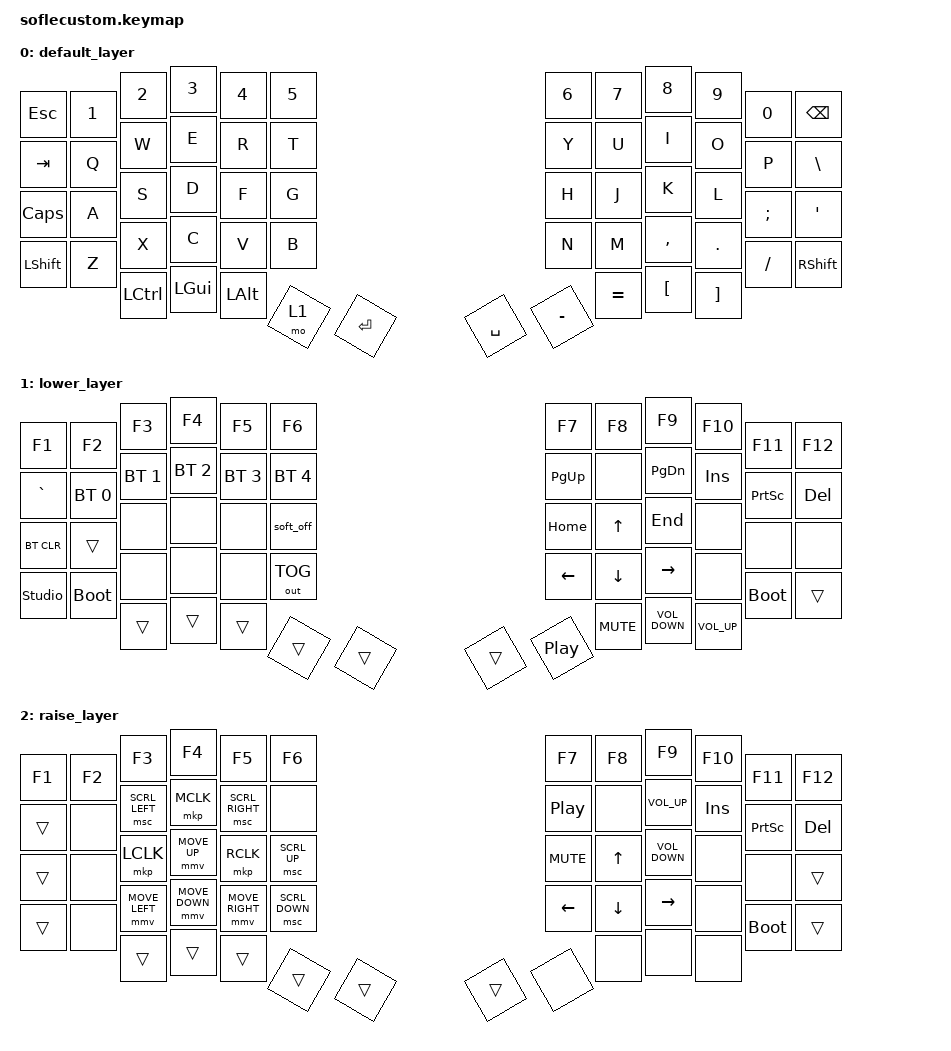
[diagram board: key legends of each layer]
/*
 * Copyright (c) 2020 The ZMK Contributors
 *
 * SPDX-License-Identifier: MIT
 */

#include <behaviors.dtsi>
#include <dt-bindings/zmk/keys.h>
#include <dt-bindings/zmk/bt.h>
#include <dt-bindings/zmk/outputs.h>
#include <dt-bindings/zmk/pointing.h>
#include <behaviors/mouse_keys.dtsi>

&soft_off {
    hold-time-ms = <2000>; // Only turn off it the key is held for 2 seconds or longer.
};

/ {
    keymap {
        compatible = "zmk,keymap";

        default_layer {
// ------------------------------------------------------------------------------------------------------------
// |  `    |  1  |  2  |  3   |  4   |  5   |                   |  6   |  7    |  8    |  9   |   0   |       |
// |  ESC  |  Q  |  W  |  E   |  R   |  T   |                   |  Y   |  U    |  I    |  O   |   P   | BKSPC |
// |  TAB  |  A  |  S  |  D   |  F   |  G   |                   |  H   |  J    |  K    |  L   |   ;   |   '   |
// | SHIFT |  Z  |  X  |  C   |  V   |  B   |  MUTE  |  |       |  N   |  M    |  ,    |  .   |   /   | SHIFT |
//               | GUI | ALT  | CTRL | LOWER|  ENTER |  | SPACE | RAISE| CTRL  | ALT   | GUI  |
            bindings = <
&kp ESC   	&kp N1 	&kp N2   	&kp N3   	&kp N4    	&kp N5                      	&kp N6 	    &kp N7    	&kp N8    	&kp N9   	&kp N0   	&kp BSPC
&kp TAB   	&kp Q  	&kp W    	&kp E    	&kp R     	&kp T                       	&kp Y  	    &kp U     	&kp I     	&kp O    	&kp P    	&kp BSLH
&kp CAPS   	&kp A  	&kp S    	&kp D    	&kp F     	&kp G                       	&kp H  	    &kp J     	&kp K     	&kp L    	&kp SEMI 	&kp SQT
&kp LSHFT 	&kp Z  	&kp X    	&kp C    	&kp V     	&kp B                       	&kp N  	    &kp M     	&kp COMMA 	&kp DOT  	&kp FSLH 	&kp RSHFT
	                &kp LCTRL 	&kp LGUI 	&kp LALT 	&mo 1  	&kp RET    	&kp SPACE 	&kp MINUS   &kp EQUAL  	&kp LBKT	&kp RBKT 	
            >;
        };

        lower_layer {
            bindings = <
&kp F1    	&kp F2    	    &kp F3      	&kp F4    	    &kp F5          &kp F6    	                  &kp F7   	    &kp F8      &kp F9    	        &kp F10   	        &kp F11	            &kp F12
&kp GRAVE   &bt BT_SEL 0    &bt BT_SEL 1 	&bt BT_SEL 2 	&bt BT_SEL 3 	&bt BT_SEL 4             	  &kp PG_UP	    &none	    &kp PG_DN	        &kp INS 	        &kp PSCRN	        &kp DEL
&bt BT_CLR  &trans    	    &none     	    &none   	    &none   	    &soft_off       	          &kp HOME  	&kp UP   	&kp END	            &none	            &none               &none     
&studio_unlock    	&bootloader	    &none  	        &none 	        &none	        &out OUT_TOG	              &kp LEFT  	&kp DOWN 	&kp RIGHT 	        &none	            &bootloader         &trans    
	                        &trans    	    &trans      	&trans    	    &trans    	  &trans  &trans  &kp C_PP    	&kp C_MUTE  &kp C_VOLUME_DOWN	&kp C_VOL_UP	
	
            >;
        };

        raise_layer {
            bindings = <
&kp F1    	&kp F2  &kp F3              &kp F4    	    &kp F5              &kp F6    	                            &kp F7   	&kp F8      &kp F9    	        &kp F10   	&kp F11	    &kp F12
&trans     	&none	&msc SCRL_LEFT	    &mkp MCLK       &msc SCRL_RIGHT	    &none	                                &kp C_PP	&none	    &kp C_VOL_UP	    &kp INS 	&kp PSCRN   &kp DEL
&trans     	&none	&mkp LCLK  	        &mmv MOVE_UP   	&mkp RCLK	        &msc SCRL_UP	                        &kp C_MUTE	&kp UP   	&kp C_VOLUME_DOWN	&none	    &none	    &trans     
&trans     	&none	&mmv MOVE_LEFT  	&mmv MOVE_DOWN 	&mmv MOVE_RIGHT 	&msc SCRL_DOWN	                        &kp LEFT  	&kp DOWN 	&kp RIGHT 	        &none       &bootloader	&trans
	                &trans              &trans          &trans              &trans  	    &trans   	&trans      &none       &none    	&none   	        &none	

            >;
        };
    };
};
